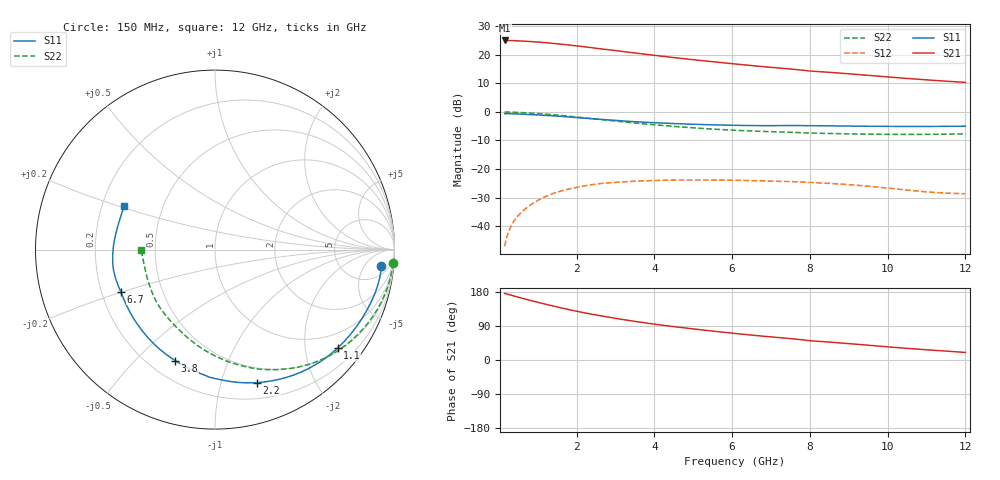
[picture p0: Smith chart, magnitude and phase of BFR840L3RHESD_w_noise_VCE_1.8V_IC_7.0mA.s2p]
! Infineon Technologies  Discrete & RF Semiconductors
! BFR840L3RHESD
! VCE =  1.8 V,  IC =  7.0 mA
! Common Emitter S-Parameters:  Jun 2012
# GHz  S  MA  R  50
!  f  S11  S21  S12  S22
! GHz  MAG  ANG  MAG  ANG  MAG  ANG  MAG  ANG
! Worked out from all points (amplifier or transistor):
!   91 points, 150 MHz to 12 GHz, reference 50 ohm
!   highest |S21| = 25.0 dB at 150 MHz (marker M1)
!   |S21| within 3 dB of that: start of sweep to 2.668 GHz
!   unconditionally stable (mu >= 1): 8.862 GHz to end of sweep
!   at 1.3 GHz: K = 0.11, MSG = 26.5 dB, |S12| = -29.0 dB
!   at 4.3 GHz: K = 0.34, MSG = 21.6 dB, |S12| = -23.9 dB
!   at 12 GHz: K = 2.26, MAG = 13.2 dB, |S12| = -28.6 dB
!   lowest NFmin = 0.57 dB at 450 MHz
!   S11 on the Smith chart (normalised r, x): 150 MHz: 10, -13; 1.1 GHz: 0.58, -2.73; 2.2 GHz: 0.35, -1.31; 3.8 GHz: 0.30, -0.66; 6.7 GHz: 0.28, -0.20; 12 GHz: 0.29, +0.21
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0.15  0.932 -5.6  17.72 175.6  0.0045 81.0  0.9946 -4.3
0.35  0.9274 -13.0  17.58 170.1  0.0111 79.8  0.9874 -10.4
0.6  0.9112 -21.8  17.29 163.0  0.0181 76.1  0.972 -17.4
0.8  0.8971 -28.8  16.99 157.5  0.0233 71.2  0.9552 -22.9
1.1  0.8761 -38.8  16.42 149.8  0.0308 63.9  0.925 -30.9
1.3  0.8608 -45.3  15.98 144.8  0.0354 59.8  0.9026 -36.0
1.6  0.8345 -54.8  15.26 137.7  0.0414 54.5  0.8665 -43.4
1.9  0.8056 -63.9  14.5 130.9  0.0464 49.4  0.8276 -50.5
2.2  0.7772 -72.4  13.72 124.6  0.0508 44.4  0.7876 -57.0
2.5  0.7506 -80.2  12.95 118.9  0.0547 40.1  0.7494 -63.2
3  0.7113 -92.6  11.8 109.9  0.0584 33.2  0.6923 -72.5
3.4  0.6802 -101.5  10.91 103.5  0.061 29.0  0.6489 -79.6
3.8  0.6569 -109.7  10.12 97.5  0.0625 25.0  0.6122 -86.2
4.2  0.6384 -117.4  9.398 92.0  0.0637 21.4  0.5803 -92.3
4.6  0.6222 -124.6  8.751 86.9  0.0644 18.2  0.552 -98.3
5.1  0.6049 -133.1  8.039 80.9  0.0646 14.6  0.5212 -105.4
6.1  0.5824 -148.0  6.856 69.8  0.0637 8.5  0.4763 -118.8
6.7  0.5755 -156.0  6.266 63.8  0.0624 5.5  0.4582 -126.5
8  0.574 -173.4  5.177 50.8  0.0584 -0.5  0.4269 -144.1
8.5  0.5699 -178.1  4.915 47.3  0.0563 -2.0  0.4195 -148.7
10.5  0.5564 163.8  3.842 30.7  0.043 -4.0  0.4038 -168.2
12  0.5618 154.3  3.278 20.0  0.0371 7.7  0.4127 -179.4
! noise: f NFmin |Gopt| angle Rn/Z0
0.45  0.57  0.44  6  0.17
0.9  0.6  0.43  11  0.17
1.9  0.64  0.45  29  0.16
3.5  0.65  0.43  48  0.15
4  0.67  0.43  57  0.15
5.5  0.7  0.44  70  0.13
7  0.78  0.42  91  0.12
8  0.84  0.4  100  0.11
10  0.96  0.36  123  0.1
12  1.12  0.32  153  0.09
